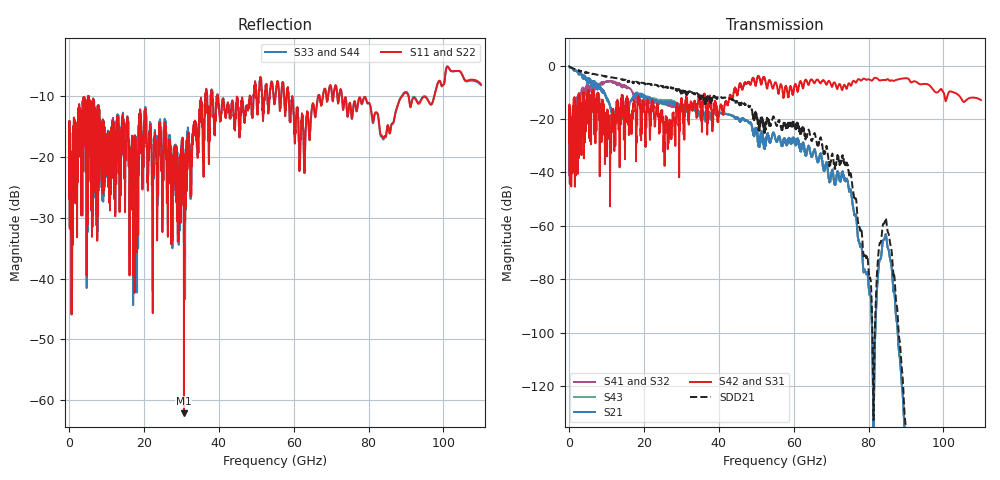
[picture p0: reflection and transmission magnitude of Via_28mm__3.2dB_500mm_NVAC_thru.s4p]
!4 port subset of full cascaded channels using these ports:3 1 4 2
# Hz S RI R 50
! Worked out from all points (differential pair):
!   11000 points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, 10 MHz to 110 GHz, reference 50 ohm
!   strongest paths, dB at 10 MHz, 27.51 GHz, 55.01 GHz, 82.51 GHz, 110 GHz:
!     S42: -29.0, -22.0, -6.3, -5.0, -12.9
!     S31: -29.0, -22.0, -6.3, -5.0, -12.9
!     S21: -0.2, -14.0, -26.8, -78.5, -
!     S43: -0.2, -13.8, -26.8, -78.4, -
!     S41: -41.0, -15.0, -26.8, -78.4, -
!     S32: -41.0, -15.0, -26.8, -78.4, -
!   taken as a pair (ports 1,3 in; 2,4 out), SDD21 dB: -0.1, -8.4, -20.8, -72.4, -
!   lowest |S11| = -62.1 dB at 30.68 GHz (marker M1), VSWR 1.00, Z = 50 + j0.0749 ohm
!   |S11| at or under -10 dB: 5.261 GHz to 36.41 GHz (31.15 GHz wide, 149 % of centre); 39.66 GHz to 48.26 GHz (8.602 GHz wide, 19.6 % of centre); 72.87 GHz to 89.01 GHz (16.14 GHz wide, 19.9 % of centre) (the widest 3 of 25)
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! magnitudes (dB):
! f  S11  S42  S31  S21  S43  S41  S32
! 10 MHz  -26.8  -29.0  -29.0  -0.2  -0.2  -41.0  -41.0
! 4.72 GHz  -18.2  -17.3  -17.3  -5.5  -5.4  -7.2  -7.2
! 30.68 GHz  -62.1  -21.1  -21.1  -15.8  -14.8  -15.2  -15.2
! 73.3 GHz  -12.0  -7.6  -7.6  -40.8  -40.8  -40.8  -40.8
! 80.36 GHz  -11.3  -5.3  -5.3  -85.4  -85.5  -85.5  -85.5
! 84.32 GHz  -16.6  -5.3  -5.3  -64.4  -64.3  -64.3  -64.3
! 110 GHz  -8.0  -12.9  -12.9  -  -  -  -
